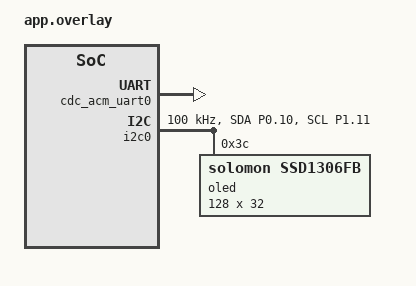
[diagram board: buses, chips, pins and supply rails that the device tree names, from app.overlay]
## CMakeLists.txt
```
cmake_minimum_required(VERSION 3.20.0)

list(APPEND BOARD_ROOT /workspaces/zmk/app/module)

find_package(Zephyr REQUIRED HINTS $ENV{ZEPHYR_BASE})
project(oled_test)

target_sources(app PRIVATE src/main.c)
```

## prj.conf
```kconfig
CONFIG_GPIO=y
CONFIG_I2C=y
CONFIG_DISPLAY=y
CONFIG_SSD1306=y

CONFIG_LOG=y
CONFIG_LOG_BUFFER_SIZE=8192
CONFIG_I2C_LOG_LEVEL_WRN=y
CONFIG_DISPLAY_LOG_LEVEL_DBG=y

CONFIG_USB_DEVICE_STACK=y
CONFIG_USB_DEVICE_PRODUCT="OLED test"
CONFIG_USB_DEVICE_INITIALIZE_AT_BOOT=n
CONFIG_USB_CDC_ACM=y
CONFIG_SERIAL=y
CONFIG_UART_LINE_CTRL=y
CONFIG_CONSOLE=y
CONFIG_UART_CONSOLE=y
CONFIG_USB_CDC_ACM_LOG_LEVEL_OFF=y
CONFIG_USB_DEVICE_LOG_LEVEL_OFF=y
CONFIG_USB_DRIVER_LOG_LEVEL_OFF=y
```

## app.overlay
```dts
/ {
    chosen {
        zephyr,console = &cdc_acm_uart0;
        zephyr,display = &oled;
    };
};

&zephyr_udc0 {
    cdc_acm_uart0: cdc_acm_uart0 {
        compatible = "zephyr,cdc-acm-uart";
    };
};

// P0.10 is an NFC pin on nRF52840
&uicr {
    nfct-pins-as-gpios;
};

&pinctrl {
    i2c0_oled_default: i2c0_oled_default {
        group1 {
            psels = <NRF_PSEL(TWIM_SDA, 0, 10)>,
                    <NRF_PSEL(TWIM_SCL, 1, 11)>;
            bias-pull-up;
        };
    };

    i2c0_oled_sleep: i2c0_oled_sleep {
        group1 {
            psels = <NRF_PSEL(TWIM_SDA, 0, 10)>,
                    <NRF_PSEL(TWIM_SCL, 1, 11)>;
            bias-pull-up;
        };
    };
};

&i2c0 {
    status = "okay";
    pinctrl-0 = <&i2c0_oled_default>;
    pinctrl-1 = <&i2c0_oled_sleep>;
    pinctrl-names = "default", "sleep";
    clock-frequency = <I2C_BITRATE_STANDARD>;

    oled: ssd1306@3c {
        compatible = "solomon,ssd1306fb";
        reg = <0x3c>;
        width = <128>;
        height = <32>;
        segment-offset = <0>;
        page-offset = <0>;
        display-offset = <0>;
        multiplex-ratio = <31>;
        segment-remap;
        com-invdir;
        com-sequential;
        inversion-on;
        prechargep = <0x22>;
        // Initialized from main() after VCC (P0.13) is switched on
        zephyr,deferred-init;
    };
};
```

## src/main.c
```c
#include <string.h>
#include <zephyr/kernel.h>
#include <zephyr/device.h>
#include <zephyr/drivers/display.h>
#include <zephyr/drivers/gpio.h>
#include <zephyr/drivers/i2c.h>
#include <zephyr/drivers/uart.h>
#include <zephyr/usb/usb_device.h>
#include <zephyr/logging/log.h>

LOG_MODULE_REGISTER(oled_test, LOG_LEVEL_INF);

#define WIDTH 128
#define HEIGHT 32

static const struct device *const display = DEVICE_DT_GET(DT_NODELABEL(oled));
static const struct device *const gpio0 = DEVICE_DT_GET(DT_NODELABEL(gpio0));
static const struct i2c_dt_spec oled_i2c = I2C_DT_SPEC_GET(DT_NODELABEL(oled));
static uint8_t frame[WIDTH * HEIGHT / 8];

static int oled_cmd(const uint8_t *cmd, size_t len) {
    return i2c_burst_write_dt(&oled_i2c, 0x00, cmd, len);
}

static void try_n(const char *name, const uint8_t *cmd, size_t len, bool single_msg) {
    uint8_t buf[32] = {0x00};
    uint32_t fail = 0;
    int first_err = 0;
    int64_t t0 = k_uptime_get();

    memcpy(buf + 1, cmd, len);
    for (int i = 0; i < 20; i++) {
        int ret = single_msg ? i2c_write_dt(&oled_i2c, buf, len + 1) : oled_cmd(cmd, len);

        if (ret) {
            first_err = first_err ?: ret;
            fail++;
        }
    }
    LOG_INF("%-24s len=%2u fail=%2u/20 err=%d (%lld ms)", name, len, fail, first_err,
            k_uptime_delta(&t0));
}

static void raw_test(void) {
    static const uint8_t nops[16] = {[0 ... 15] = 0xe3};
    static const uint8_t window[] = {0x20, 0x00, 0x21, 0x00, 0x7f, 0x22, 0x00, 0x03};
    static const size_t lens[] = {1, 2, 4, 6, 7, 8, 9, 12, 16};
    static const uint8_t off[] = {0xae};

    oled_cmd(off, 1);

    for (size_t i = 0; i < ARRAY_SIZE(lens); i++) {
        try_n("NOP x len", nops, lens[i], false);
    }

    try_n("window (burst)", window, sizeof(window), false);
    try_n("window (single msg)", window, sizeof(window), true);
    try_n("20 00", window, 2, false);
    try_n("21 00 7f", window + 2, 3, false);
    try_n("22 00 03", window + 5, 3, false);
    try_n("20 00 21 00 7f", window, 5, false);
    try_n("21 00 7f 22 00 03", window + 2, 6, false);

    for (size_t i = 0; i < sizeof(window); i++) {
        char name[16];

        snprintk(name, sizeof(name), "byte %02x", window[i]);
        try_n(name, &window[i], 1, false);
    }
}

static void wait_for_terminal(void) {
    const struct device *uart = DEVICE_DT_GET(DT_CHOSEN(zephyr_console));
    uint32_t dtr = 0;

    for (int i = 0; i < 100 && !dtr; i++) {
        uart_line_ctrl_get(uart, UART_LINE_CTRL_DTR, &dtr);
        k_msleep(100);
    }
}

static int draw(uint8_t pattern_even, uint8_t pattern_odd) {
    const struct display_buffer_descriptor desc = {
        .buf_size = sizeof(frame),
        .width = WIDTH,
        .height = HEIGHT,
        .pitch = WIDTH,
    };

    for (size_t i = 0; i < sizeof(frame); i++) {
        frame[i] = (i & 1) ? pattern_odd : pattern_even;
    }
    return display_write(display, 0, 0, &desc, frame);
}

int main(void) {
    usb_enable(NULL);
    wait_for_terminal();
    LOG_INF("OLED test start");

    // nice!nano v2 external VCC switch
    gpio_pin_configure(gpio0, 13, GPIO_OUTPUT_ACTIVE);
    k_msleep(200);

    raw_test();

    int ret = device_init(display);
    LOG_INF("display init: %d", ret);
    if (ret) {
        return 0;
    }

    display_blanking_off(display);

    static const struct {
        const char *name;
        uint8_t even, odd;
    } patterns[] = {
        {"white", 0xFF, 0xFF},
        {"black", 0x00, 0x00},
        {"checker", 0xAA, 0x55},
        {"stripes", 0xFF, 0x00},
    };
    uint32_t ok = 0, fail = 0;

    for (uint32_t n = 0;; n++) {
        for (size_t p = 0; p < ARRAY_SIZE(patterns); p++) {
            int64_t t0 = k_uptime_get();
            ret = draw(patterns[p].even, patterns[p].odd);
            int64_t dt = k_uptime_delta(&t0);

            ret ? fail++ : ok++;
            LOG_INF("[%u] %-8s ret=%d (%lld ms)  ok=%u fail=%u", n, patterns[p].name, ret, dt,
                    ok, fail);
            k_msleep(1000);
        }
    }
    return 0;
}
```
